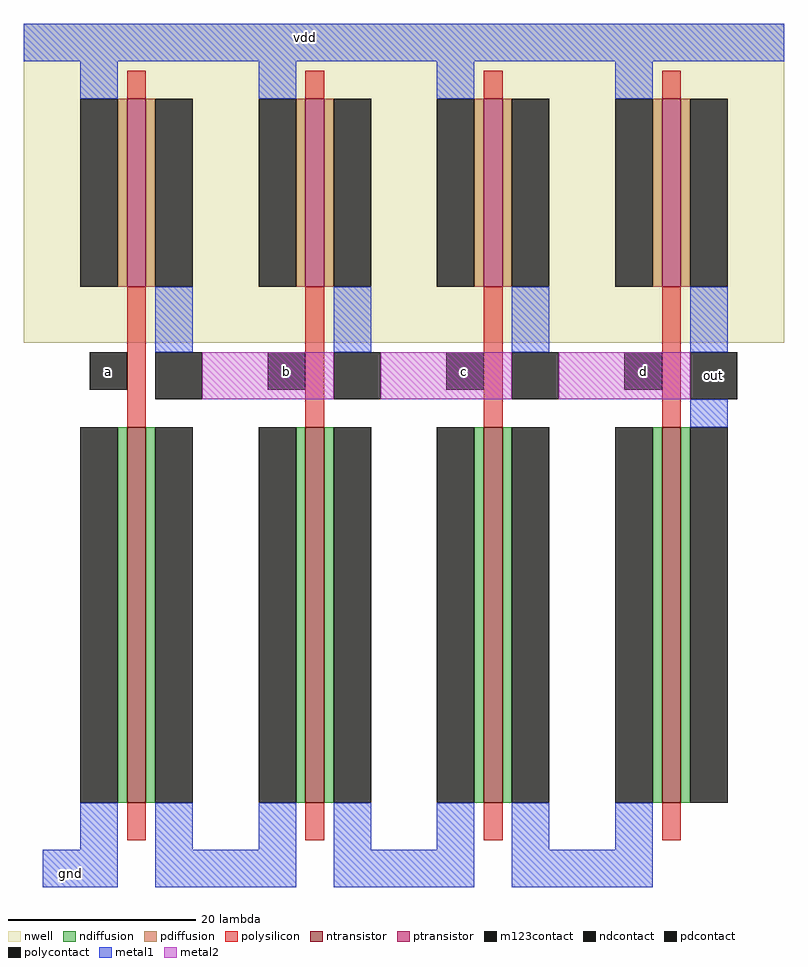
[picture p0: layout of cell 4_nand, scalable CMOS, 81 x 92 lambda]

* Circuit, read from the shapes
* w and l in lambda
.subckt 4_nand a b c d gnd out vdd
M1 n1 a gnd VSUBS nfet w=40 l=2
M2 n2 b n1 VSUBS nfet w=40 l=2
M3 n3 c n2 VSUBS nfet w=40 l=2
M4 out d n3 VSUBS nfet w=40 l=2
M5 out a vdd n4 pfet w=20 l=2
M6 out b vdd n4 pfet w=20 l=2
M7 out c vdd n4 pfet w=20 l=2
M8 out d vdd n4 pfet w=20 l=2
.ends

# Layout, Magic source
magic
tech scmos
<< nwell >>
rect -88 33 -7 67
<< ntransistor >>
rect -77 -16 -75 24
rect -58 -16 -56 24
rect -39 -16 -37 24
rect -20 -16 -18 24
<< ptransistor >>
rect -77 39 -75 59
rect -58 39 -56 59
rect -39 39 -37 59
rect -20 39 -18 59
<< ndiffusion >>
rect -78 -16 -77 24
rect -75 -16 -74 24
rect -59 -16 -58 24
rect -56 -16 -55 24
rect -40 -16 -39 24
rect -37 -16 -36 24
rect -21 -16 -20 24
rect -18 -16 -17 24
<< pdiffusion >>
rect -78 39 -77 59
rect -75 39 -74 59
rect -59 39 -58 59
rect -56 39 -55 59
rect -40 39 -39 59
rect -37 39 -36 59
rect -21 39 -20 59
rect -18 39 -17 59
<< ndcontact >>
rect -82 -16 -78 24
rect -74 -16 -70 24
rect -63 -16 -59 24
rect -55 -16 -51 24
rect -44 -16 -40 24
rect -36 -16 -32 24
rect -25 -16 -21 24
rect -17 -16 -13 24
<< pdcontact >>
rect -82 39 -78 59
rect -74 39 -70 59
rect -63 39 -59 59
rect -55 39 -51 59
rect -44 39 -40 59
rect -36 39 -32 59
rect -25 39 -21 59
rect -17 39 -13 59
<< polysilicon >>
rect -77 59 -75 62
rect -58 59 -56 62
rect -39 59 -37 62
rect -20 59 -18 62
rect -77 24 -75 39
rect -58 24 -56 39
rect -39 24 -37 39
rect -20 24 -18 39
rect -77 -20 -75 -16
rect -58 -20 -56 -16
rect -39 -20 -37 -16
rect -20 -20 -18 -16
<< polycontact >>
rect -81 28 -77 32
rect -62 28 -58 32
rect -43 28 -39 32
rect -24 28 -20 32
<< metal1 >>
rect -88 63 -7 67
rect -82 59 -78 63
rect -63 59 -59 63
rect -44 59 -40 63
rect -25 59 -21 63
rect -74 32 -70 39
rect -55 32 -51 39
rect -36 32 -32 39
rect -17 32 -13 39
rect -17 24 -13 27
rect -82 -21 -78 -16
rect -86 -25 -78 -21
rect -74 -21 -70 -16
rect -63 -21 -59 -16
rect -74 -25 -59 -21
rect -55 -21 -51 -16
rect -44 -21 -40 -16
rect -55 -25 -40 -21
rect -36 -21 -32 -16
rect -25 -21 -21 -16
rect -36 -25 -21 -21
<< metal2 >>
rect -69 27 -55 32
rect -50 27 -36 32
rect -31 27 -17 32
<< m123contact >>
rect -74 27 -69 32
rect -55 27 -50 32
rect -36 27 -31 32
rect -17 27 -12 32
<< labels >>
rlabel metal1 -60 65 -56 66 5 vdd
rlabel polycontact -81 28 -77 32 1 a
rlabel polycontact -62 28 -58 32 1 b
rlabel polycontact -43 28 -39 32 1 c
rlabel m123contact -17 27 -12 32 1 out
rlabel polycontact -24 28 -20 32 1 d
rlabel metal1 -85 -24 -81 -23 2 gnd
<< end >>
